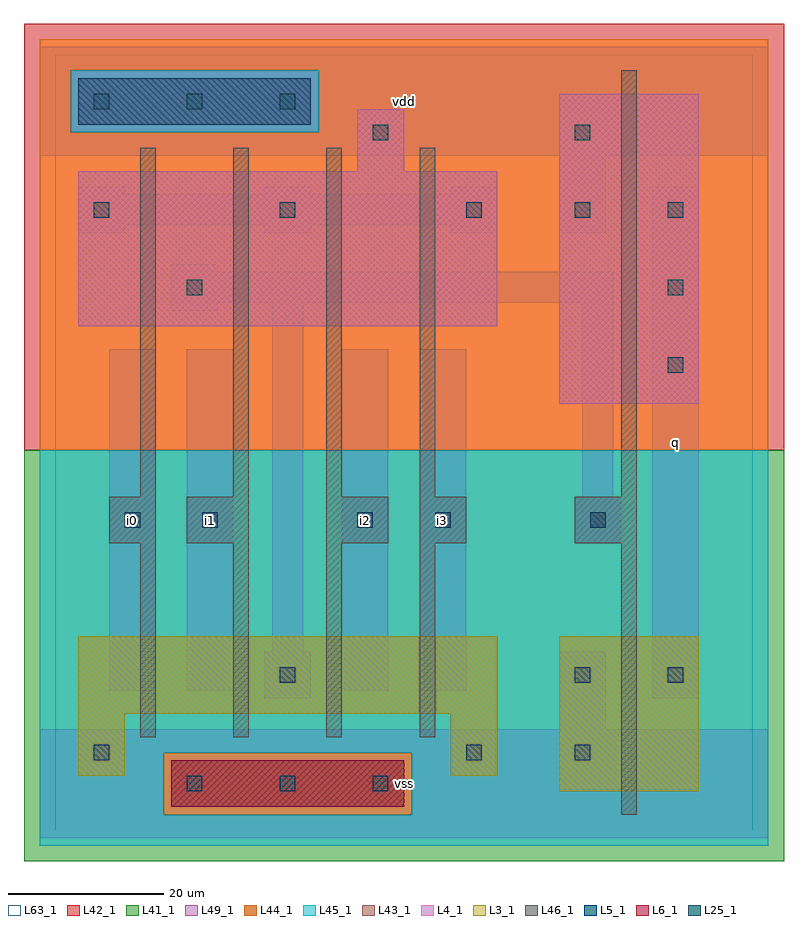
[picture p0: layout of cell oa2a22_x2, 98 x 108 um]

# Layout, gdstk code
import gdstk
lib = gdstk.Library(unit=1e-6, precision=1e-09)
def R(c, l, rs):  # rectangles x0, y0, x1, y1
    for r in rs: c.add(gdstk.rectangle(r[:2], r[2:], *l))
def A(c, l, x, y, w, h, nx, ny, dx, dy):  # array of equal rectangles
    R(c, l, [(x+i*dx, y+j*dy, x+i*dx+w, y+j*dy+h) for i in range(nx) for j in range(ny)])
L3_1 = (3, 1)
L4_1 = (4, 1)
L5_1 = (5, 1)
L6_1 = (6, 1)
L25_1 = (25, 1)
L41_1 = (41, 1)
L42_1 = (42, 1)
L43_1 = (43, 1)
L44_1 = (44, 1)
L45_1 = (45, 1)
L46_1 = (46, 1)
L49_1 = (49, 1)
L63_1 = (63, 1)

oa2a22_x2 = lib.new_cell('oa2a22_x2')
R(oa2a22_x2, L3_1, [(65,5,83,25), (3,7,9,15), (51,7,57,15), (3,15,57,25)])
R(oa2a22_x2, L4_1, [(65,55,83,95), (3,65,57,85), (39,85,45,93)])
R(oa2a22_x2, L5_1, [(3,91,33,97)])
R(oa2a22_x2, L6_1, [(15,3,45,9)])
A(oa2a22_x2, L25_1, 17, 5, 2, 2, 3, 1, 12, 0)
A(oa2a22_x2, L25_1, 79, 59, 2, 2, 1, 3, 0, 10)
A(oa2a22_x2, L25_1, 5, 79, 2, 2, 3, 1, 24, 0)
A(oa2a22_x2, L25_1, 5, 93, 2, 2, 3, 1, 12, 0)
R(oa2a22_x2, L25_1, [(5,9,7,11), (53,9,55,11), (67,9,69,11), (29,19,31,21), (67,19,69,21), (79,19,81,21), (9,39,11,41), (19,39,21,41), (39,39,41,41), (49,39,51,41), (69,39,71,41), (17,69,19,71), (67,79,69,81), (41,89,43,91), (67,89,69,91)])
R(oa2a22_x2, L41_1, [(-4,-4,94,49)])
R(oa2a22_x2, L42_1, [(-4,49,94,104)])
R(oa2a22_x2, L43_1, [(15,3,45,9), (65,5,83,25), (3,7,9,15), (51,7,57,15), (3,15,57,25), (65,55,83,95), (3,65,57,85), (39,85,45,93), (3,91,33,97)])
R(oa2a22_x2, L44_1, [(14,2,46,10), (-2,49,92,90), (-2,90,2,98), (34,90,92,98), (-2,98,92,102)])
R(oa2a22_x2, L45_1, [(-2,-2,92,2), (-2,2,14,10), (46,2,92,10), (-2,10,92,49), (2,90,34,98)])
A(oa2a22_x2, L46_1, 11, 12, 2, 25, 4, 1, 12, 0)
A(oa2a22_x2, L46_1, 11, 43, 2, 45, 4, 1, 12, 0)
R(oa2a22_x2, L46_1, [(73,2,75,37), (7,37,13,43), (17,37,25,43), (35,37,43,43), (47,37,53,43), (67,37,75,43), (73,43,75,98)])
A(oa2a22_x2, L49_1, 3, 77, 6, 1, 3, 2, 24, 5)
R(oa2a22_x2, L49_1, [(-2,-1,92,13), (65,13,71,23), (27,17,33,23), (77,17,83,83), (7,18,13,62), (17,18,23,62), (37,18,43,62), (47,18,53,62), (28,23,32,68), (67,37,73,43), (68,43,72,68), (15,67,21,68), (15,68,72,72), (15,72,21,73), (65,77,71,87), (3,78,57,82), (-2,87,92,101)])
R(oa2a22_x2, L63_1, [(0,0,90,100)])
oa2a22_x2.add(gdstk.Label('i0', (10,40), layer=49, texttype=1))
oa2a22_x2.add(gdstk.Label('i0', (10,40), layer=49, texttype=1))
oa2a22_x2.add(gdstk.Label('i1', (20,40), layer=49, texttype=1))
oa2a22_x2.add(gdstk.Label('i1', (20,40), layer=49, texttype=1))
oa2a22_x2.add(gdstk.Label('i2', (40,40), layer=49, texttype=1))
oa2a22_x2.add(gdstk.Label('i2', (40,40), layer=49, texttype=1))
oa2a22_x2.add(gdstk.Label('vss', (45,6), layer=49, texttype=1))
oa2a22_x2.add(gdstk.Label('vss', (45,6), layer=49, texttype=1))
oa2a22_x2.add(gdstk.Label('i3', (50,40), layer=49, texttype=1))
oa2a22_x2.add(gdstk.Label('i3', (50,40), layer=49, texttype=1))
oa2a22_x2.add(gdstk.Label('vdd', (45,94), layer=49, texttype=1))
oa2a22_x2.add(gdstk.Label('vdd', (45,94), layer=49, texttype=1))
oa2a22_x2.add(gdstk.Label('q', (80,50), layer=49, texttype=1))
oa2a22_x2.add(gdstk.Label('q', (80,50), layer=49, texttype=1))

lib.write_gds('oa2a22_x2.gds')
